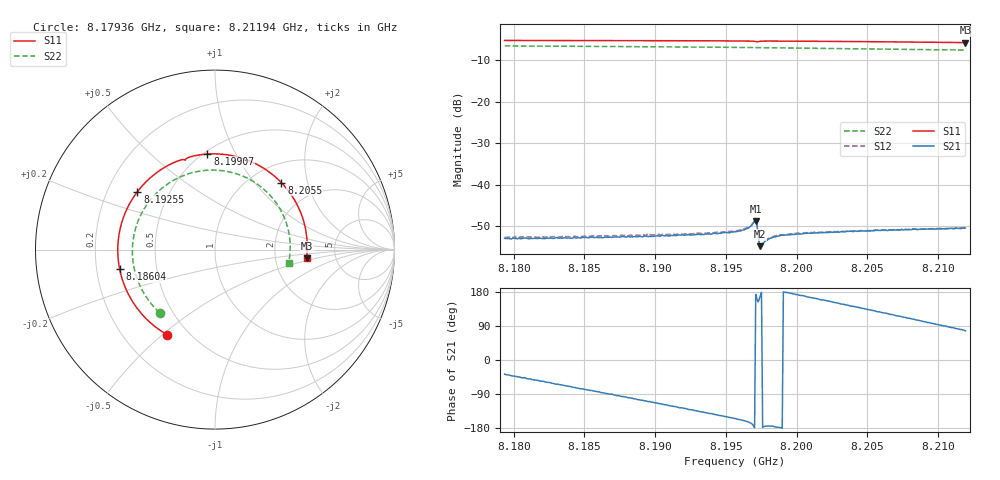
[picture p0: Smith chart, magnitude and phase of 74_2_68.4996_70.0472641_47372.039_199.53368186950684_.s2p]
#  HZ  S  RI  R  50.00
! Rohde & Schwarz Vector Network Analyzer
! Rohde-Schwarz,ZNB20-2Port,1311601062101988,3.16
! Created: UTC 3/20/2024, 5:07:01 PM
! freq[Hz]  re:S11  im:S11  re:S21  im:S21  re:S12  im:S12  re:S22  im:S22
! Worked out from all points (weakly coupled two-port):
!   401 points, 8.17936 GHz to 8.21194 GHz, reference 50 ohm
!   highest |S21| = -48.72 dB at 8.19712 GHz (marker M1); lowest = -54.8 dB at 8.19744 GHz (marker M2)
!   lowest |S11| = -5.8 dB at 8.21194 GHz (marker M3), VSWR 3.10, Z = 152 - j19.7 ohm
!   |S11| at or under -10 dB: nowhere
!   |S22| runs from -7.6 to -6.6 dB; largest |S21 - S12| = 0.00018
!   S11 on the Smith chart (normalised r, x): 8.17936 GHz: 0.38, -0.52; 8.18604 GHz: 0.30, -0.09; 8.19255 GHz: 0.33, +0.30; 8.19907 GHz: 0.52, +0.78; 8.2055 GHz: 1.35, +1.39; 8.21194 GHz: 3.05, -0.39
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8.179362e9  -0.268 -0.4734  0.00179 -0.00137  0.00183 -0.00142  -0.3085 -0.3514
8.182294e9  -0.4217 -0.3425  0.00118 -0.00192  0.00117 -0.002  -0.408 -0.2221
8.184818e9  -0.5081 -0.1905  0.000564 -0.00223  0.000532 -0.00231  -0.4534 -0.0894
8.18604e9  -0.5313 -0.1088  0.000245 -0.00229  0.000159 -0.00242  -0.4602 -0.0216
8.188157e9  -0.5403 0.0383  -0.000398 -0.00235  -0.000462 -0.0024  -0.4485 0.0951
8.190274e9  -0.5089 0.1828  -0.00103 -0.00218  -0.00109 -0.00229  -0.4076 0.2049
8.192555e9  -0.4325 0.3227  -0.00163 -0.00188  -0.00173 -0.00186  -0.3331 0.3076
8.195649e9  -0.269 0.465  -0.00244 -0.00116  -0.00256 -0.00109  -0.1918 0.4059
8.196464e9  -0.2163 0.4905  -0.00282 -0.000903  -0.0029 -0.000806  -0.1489 0.422
8.196952e9  -0.181 0.5012  -0.00343 -0.00042  -0.00349 -0.000289  -0.1226 0.4296
8.197115e9  -0.1688 0.4999  -0.00364 0.000448  -0.00365 0.000588  -0.1135 0.4318
8.197441e9  -0.1584 0.5078  -0.00179 0.000312  -0.00178 0.000365  -0.096 0.4353
8.197522e9  -0.1527 0.5111  -0.00185 5.08e-05  -0.00191 0.000138  -0.0915 0.4365
8.197604e9  -0.1467 0.5135  -0.00193 -7.14e-05  -0.00194 -6.27e-06  -0.0868 0.4372
8.198174e9  -0.1057 0.5244  -0.00227 -0.0002  -0.00231 -0.000116  -0.0547 0.4413
8.19907e9  -0.0422 0.5326  -0.00245 1.38e-05  -0.00249 0.000112  -0.004 0.4431
8.201106e9  0.1011 0.522  -0.0025 0.000711  -0.0025 0.000815  0.1103 0.4252
8.203223e9  0.2412 0.4707  -0.0023 0.00146  -0.00225 0.00156  0.2205 0.3747
8.205503e9  0.3695 0.3733  -0.00181 0.00216  -0.00171 0.0022  0.32 0.2874
8.206562e9  0.4176 0.3156  -0.00148 0.00244  -0.00139 0.00249  0.3563 0.2368
8.209249e9  0.4981 0.1431  -0.000433 0.00289  -0.000412 0.00289  0.4128 0.0878
8.211937e9  0.5103 -0.0477  0.000659 0.00294  0.000709 0.00292  0.41 -0.0749
